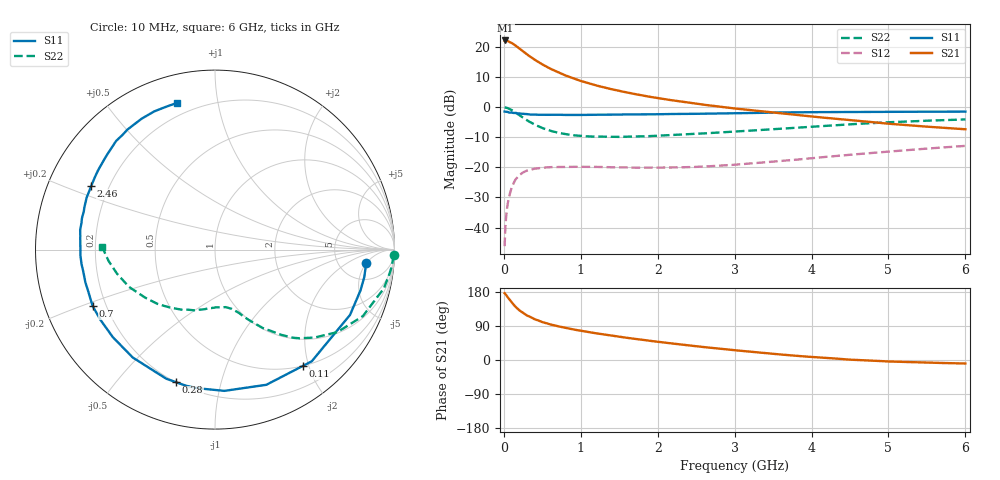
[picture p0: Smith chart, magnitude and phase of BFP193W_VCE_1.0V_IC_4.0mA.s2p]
! Infineon Technologies  Discrete & RF Semiconductors
! BFP193W
! VCE = 1.0 V,  IC =  4.0 mA
! Common Emitter S-Parameters:  Jan 2016
# GHz  S  MA  R  50
!  f  S11  S21  S12  S22
! GHz  MAG  ANG  MAG  ANG  MAG  ANG  MAG  ANG
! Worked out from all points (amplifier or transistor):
!   210 points, 10 MHz to 6 GHz, reference 50 ohm
!   highest |S21| = 22.2 dB at 20 MHz (marker M1)
!   |S21| within 3 dB of that: start of sweep to 218.4 MHz
!   unconditionally stable (mu >= 1): 1.712 GHz to end of sweep
!   at 185 MHz: K = 0.13, MSG = 21.5 dB, |S12| = -23.1 dB
!   at 1.52 GHz: K = 0.90, MSG = 12.7 dB, |S12| = -20.0 dB
!   at 6 GHz: K = 1.03, MAG = 1.8 dB, |S12| = -12.9 dB
!   S11 on the Smith chart (normalised r, x): 10 MHz: 9, -5; 110 MHz: 0.50, -1.90; 280 MHz: 0.20, -0.73; 700 MHz: 0.15, -0.22; 2.46 GHz: 0.13, +0.24; 6 GHz: 0.13, +0.76
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0.01  0.8457 -5.1  12.8 176.3  0.0049 88.1  0.9957 -1.8
0.02  0.8457 -10.4  12.87 174.3  0.0102 85.1  0.9894 -5.4
0.05  0.8357 -25.8  12.61 165.6  0.0248 77.0  0.9656 -12.9
0.1  0.8234 -49.1  11.74 152.4  0.0455 65.0  0.9036 -24.2
0.11  0.8119 -53.0  11.49 150.2  0.0487 62.4  0.8854 -26.0
0.15  0.8057 -69.2  10.67 140.7  0.0625 54.7  0.8222 -34.0
0.2  0.7888 -86.2  9.501 131.4  0.0738 46.9  0.7395 -41.5
0.24  0.7784 -97.0  8.671 125.5  0.0807 41.8  0.6834 -46.3
0.28  0.77 -106.3  7.904 120.2  0.0858 37.6  0.6306 -50.1
0.3  0.7689 -110.7  7.54 117.5  0.0882 35.8  0.6049 -51.9
0.4  0.756 -127.3  6.146 107.6  0.095 28.7  0.5124 -58.6
0.48  0.7482 -137.0  5.326 101.7  0.098 25.2  0.4623 -62.1
0.6  0.7486 -148.3  4.383 94.1  0.1008 20.9  0.4071 -66.7
0.7  0.7509 -155.2  3.834 89.2  0.1017 18.8  0.3768 -69.3
1.02  0.744 -170.6  2.686 76.4  0.102 15.0  0.3319 -77.5
1.4  0.7522 177.1  1.992 64.2  0.1009 14.2  0.3224 -86.1
2.02  0.7656 161.6  1.404 47.6  0.0992 19.2  0.3376 -100.2
2.46  0.7757 152.7  1.161 37.3  0.1015 24.1  0.3603 -110.6
3.1  0.7957 140.8  0.924 23.9  0.1132 31.4  0.4003 -125.3
4.1  0.8284 124.8  0.681 6.7  0.146 36.9  0.482 -148.2
5.1  0.8408 112.8  0.52 -4.5  0.1872 35.9  0.5679 -167.8
6  0.8442 104.7  0.43 -9.3  0.2275 32.3  0.6272 178.9
